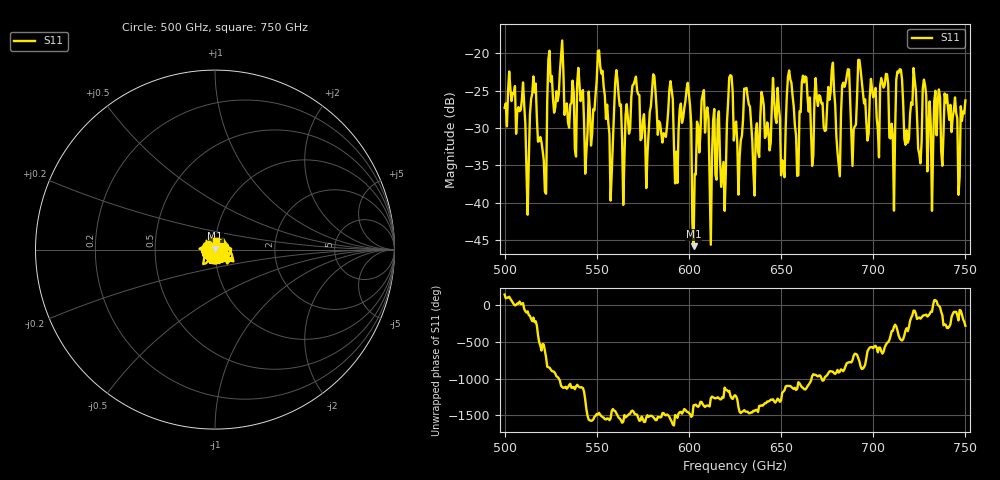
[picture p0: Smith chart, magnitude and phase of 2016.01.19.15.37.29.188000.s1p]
!Created with skrf (http://scikit-rf.org).
# GHz S RI R 50.0
!freq ReS11 ImS11
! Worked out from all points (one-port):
!   401 points, 500 GHz to 750 GHz, reference 50 ohm
!   lowest |S11| = -45.8 dB at 602.5 GHz (marker M1), VSWR 1.01, Z = 50.1 + j0.504 ohm
!   |S11| at or under -10 dB: start of sweep to end of sweep
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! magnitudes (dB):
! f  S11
! 500 GHz  -27.3
! 512.5 GHz  -41.6
! 515.6 GHz  -23.1
! 521.2 GHz  -34.3
! 524.4 GHz  -19.7
! 531.2 GHz  -18.3
! 544.4 GHz  -33.1
! 551.9 GHz  -21.7
! 557.5 GHz  -39.7
! 562.5 GHz  -27.0
! 590 GHz  -23.7
! 593.8 GHz  -37.4
! 599.4 GHz  -24.0
! 602.5 GHz  -45.8
! 608.1 GHz  -24.9
! 618.8 GHz  -34.5
! 622.5 GHz  -22.9
! 625 GHz  -29.5
! 646.9 GHz  -28.6
! 651.2 GHz  -35.2
! 656.2 GHz  -25.7
! 658.8 GHz  -36.4
! 687.5 GHz  -26.4
! 706.9 GHz  -22.8
! 710 GHz  -29.4
! 714.4 GHz  -22.1
! 718.8 GHz  -32.0
! 750 GHz  -26.3
